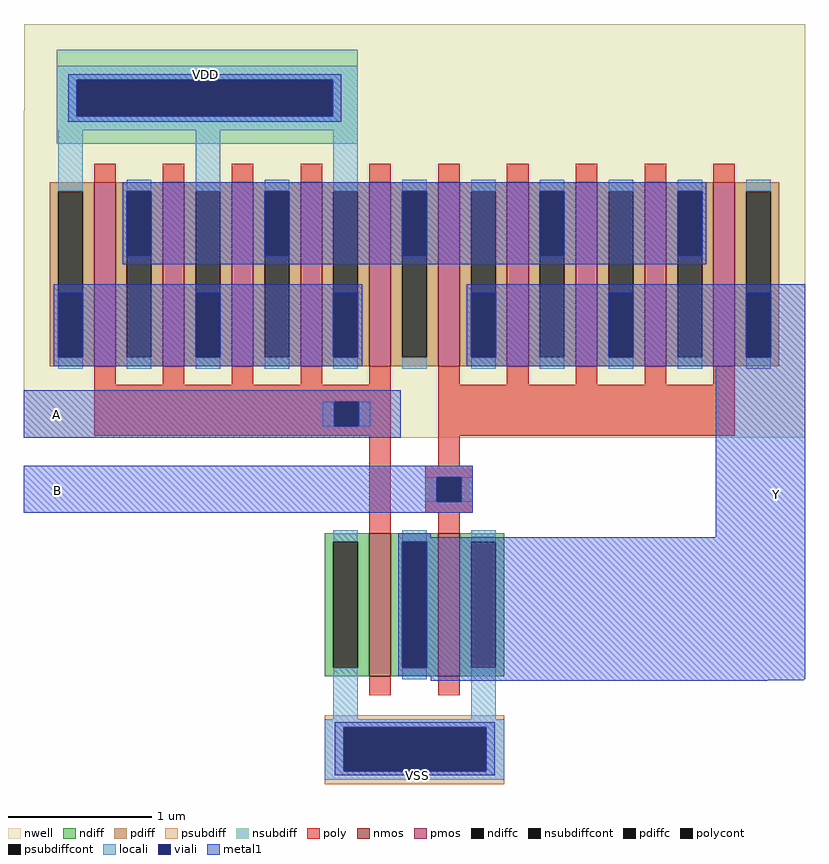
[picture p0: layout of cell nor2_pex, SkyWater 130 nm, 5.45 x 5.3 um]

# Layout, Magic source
magic
tech sky130B
magscale 1 2
<< nwell >>
rect 1 459 1090 580
rect 0 3 1090 459
<< nmos >>
rect 482 -330 512 -130
rect 578 -330 608 -130
<< pmos >>
rect 98 103 128 359
rect 194 103 224 359
rect 290 103 320 359
rect 386 103 416 359
rect 482 103 512 359
rect 578 103 608 359
rect 674 103 704 359
rect 770 103 800 359
rect 866 103 896 359
rect 962 103 992 359
<< ndiff >>
rect 420 -142 482 -130
rect 420 -318 432 -142
rect 466 -318 482 -142
rect 420 -330 482 -318
rect 512 -142 578 -130
rect 512 -318 528 -142
rect 562 -318 578 -142
rect 512 -330 578 -318
rect 608 -142 670 -130
rect 608 -318 624 -142
rect 658 -318 670 -142
rect 608 -330 670 -318
<< pdiff >>
rect 36 347 98 359
rect 36 115 48 347
rect 82 115 98 347
rect 36 103 98 115
rect 128 347 194 359
rect 128 115 144 347
rect 178 115 194 347
rect 128 103 194 115
rect 224 347 290 359
rect 224 115 240 347
rect 274 115 290 347
rect 224 103 290 115
rect 320 347 386 359
rect 320 115 336 347
rect 370 115 386 347
rect 320 103 386 115
rect 416 347 482 359
rect 416 115 432 347
rect 466 115 482 347
rect 416 103 482 115
rect 512 347 578 359
rect 512 115 528 347
rect 562 115 578 347
rect 512 103 578 115
rect 608 347 674 359
rect 608 115 624 347
rect 658 115 674 347
rect 608 103 674 115
rect 704 347 770 359
rect 704 115 720 347
rect 754 115 770 347
rect 704 103 770 115
rect 800 347 866 359
rect 800 115 816 347
rect 850 115 866 347
rect 800 103 866 115
rect 896 347 962 359
rect 896 115 912 347
rect 946 115 962 347
rect 896 103 962 115
rect 992 347 1054 359
rect 992 115 1008 347
rect 1042 115 1054 347
rect 992 103 1054 115
<< ndiffc >>
rect 432 -318 466 -142
rect 528 -318 562 -142
rect 624 -318 658 -142
<< pdiffc >>
rect 48 115 82 347
rect 144 115 178 347
rect 240 115 274 347
rect 336 115 370 347
rect 432 115 466 347
rect 528 115 562 347
rect 624 115 658 347
rect 720 115 754 347
rect 816 115 850 347
rect 912 115 946 347
rect 1008 115 1042 347
<< psubdiff >>
rect 420 -401 670 -384
rect 420 -462 446 -401
rect 645 -462 670 -401
rect 420 -480 670 -462
<< nsubdiff >>
rect 46 502 466 544
rect 46 451 74 502
rect 431 451 466 502
rect 46 413 466 451
<< psubdiffcont >>
rect 446 -462 645 -401
<< nsubdiffcont >>
rect 74 451 431 502
<< poly >>
rect 98 359 128 385
rect 194 359 224 385
rect 290 359 320 385
rect 386 359 416 385
rect 482 359 512 385
rect 578 359 608 385
rect 674 359 704 385
rect 770 359 800 385
rect 866 359 896 385
rect 962 359 992 385
rect 98 77 128 103
rect 194 77 224 103
rect 290 77 320 103
rect 386 77 416 103
rect 482 77 512 103
rect 98 53 512 77
rect 98 19 433 53
rect 467 19 512 53
rect 98 6 512 19
rect 482 -130 512 6
rect 578 77 608 103
rect 674 77 704 103
rect 770 77 800 103
rect 866 77 896 103
rect 962 77 992 103
rect 578 6 992 77
rect 578 -36 608 6
rect 560 -52 626 -36
rect 560 -86 576 -52
rect 610 -86 626 -52
rect 560 -102 626 -86
rect 578 -130 608 -102
rect 482 -356 512 -330
rect 578 -356 608 -330
<< polycont >>
rect 433 19 467 53
rect 576 -86 610 -52
<< locali >>
rect 46 502 466 522
rect 46 451 74 502
rect 431 451 466 502
rect 46 432 466 451
rect 48 347 82 432
rect 48 99 82 115
rect 144 347 178 363
rect 144 99 178 115
rect 240 347 274 432
rect 240 99 274 115
rect 336 347 370 363
rect 336 99 370 115
rect 432 347 466 432
rect 432 99 466 115
rect 528 347 562 363
rect 528 99 562 115
rect 624 347 658 363
rect 624 99 658 115
rect 720 347 754 363
rect 720 99 754 115
rect 816 347 850 363
rect 816 99 850 115
rect 912 347 946 363
rect 912 99 946 115
rect 1008 347 1042 363
rect 1008 99 1042 115
rect 417 19 433 53
rect 467 19 483 53
rect 560 -86 576 -52
rect 610 -86 626 -52
rect 432 -142 466 -126
rect 432 -390 466 -318
rect 528 -142 562 -126
rect 528 -334 562 -318
rect 624 -142 658 -126
rect 624 -390 658 -318
rect 420 -401 670 -390
rect 420 -462 446 -401
rect 645 -462 670 -401
rect 420 -474 670 -462
<< viali >>
rect 74 451 431 502
rect 48 115 82 205
rect 144 257 178 347
rect 240 115 274 205
rect 336 257 370 347
rect 432 115 466 205
rect 528 257 562 347
rect 624 115 658 205
rect 720 257 754 347
rect 816 115 850 205
rect 912 257 946 347
rect 1008 115 1042 205
rect 433 19 467 53
rect 576 -86 610 -52
rect 528 -318 562 -142
rect 446 -462 645 -401
<< metal1 >>
rect 62 502 443 510
rect 62 451 74 502
rect 431 451 443 502
rect 62 444 443 451
rect 138 347 952 359
rect 138 257 144 347
rect 178 257 336 347
rect 370 257 528 347
rect 562 257 720 347
rect 754 257 912 347
rect 946 257 952 347
rect 138 245 952 257
rect 42 205 472 217
rect 42 115 48 205
rect 82 115 240 205
rect 274 115 432 205
rect 466 115 472 205
rect 42 103 472 115
rect 618 205 1090 217
rect 618 115 624 205
rect 658 115 816 205
rect 850 115 1008 205
rect 1042 115 1090 205
rect 618 103 1090 115
rect 0 53 526 69
rect 0 19 433 53
rect 467 19 526 53
rect 0 3 526 19
rect 0 -52 626 -36
rect 0 -86 576 -52
rect 610 -86 626 -52
rect 0 -102 626 -86
rect 522 -136 568 -130
rect 965 -136 1090 103
rect 522 -142 1090 -136
rect 522 -318 528 -142
rect 562 -318 1090 -142
rect 522 -330 1090 -318
rect 568 -334 1090 -330
rect 568 -335 1088 -334
rect 568 -336 1037 -335
rect 434 -401 657 -394
rect 434 -462 446 -401
rect 645 -462 657 -401
rect 434 -468 657 -462
<< labels >>
flabel metal1 7 10 84 62 1 FreeSerif 320 0 0 0 A
port 1 e
rlabel metal1 253 510 253 510 5 VDD
port 4 s
flabel metal1 8 -96 85 -44 1 FreeSerif 320 0 0 0 B
port 2 e
flabel metal1 1012 -102 1089 -50 1 FreeSerif 320 0 0 0 Y
port 5 e
rlabel metal1 549 -468 549 -468 5 VSS
port 3 s
<< end >>
